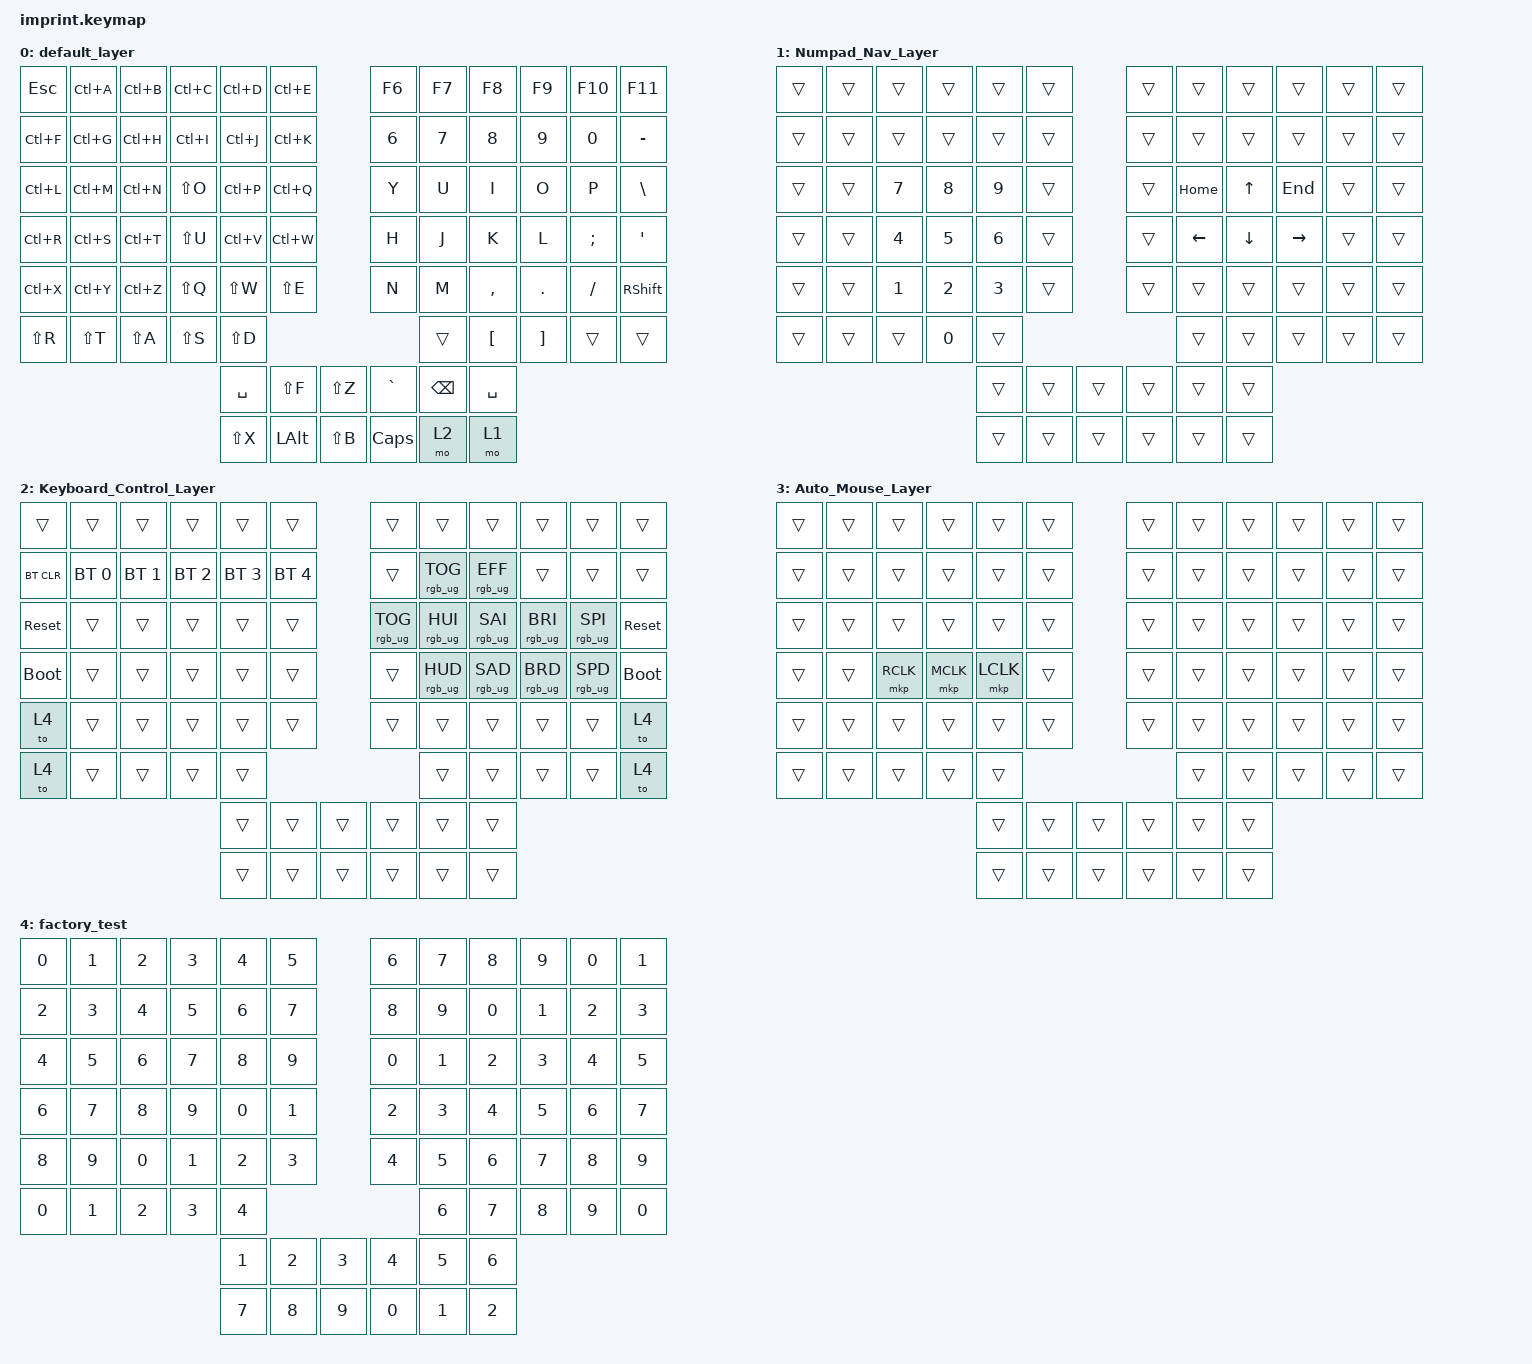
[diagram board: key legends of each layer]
#include <input/processors.dtsi>
#include <dt-bindings/zmk/input_transform.h>
#include <behaviors.dtsi>
#include <dt-bindings/zmk/bt.h>
#include <dt-bindings/zmk/keys.h>
#include <dt-bindings/zmk/pointing.h>
#include <dt-bindings/zmk/rgb.h>

/ {
    chosen { zmk,matrix-transform = &imprint_function_row_full_bottom_row; };

    keymap {
        compatible = "zmk,keymap";

        default_layer {
            bindings = <
&kp ESC    &kp LC(A)  &kp LC(B)  &kp LC(C)  &kp LC(D)  &kp LC(E)                  &kp F6     &kp F7    &kp F8     &kp F9    &kp F10   &kp F11
&kp LC(F)  &kp LC(G)  &kp LC(H)  &kp LC(I)  &kp LC(J)  &kp LC(K)                  &kp N6     &kp N7    &kp N8     &kp N9    &kp N0    &kp MINUS
&kp LC(L)  &kp LC(M)  &kp LC(N)  &kp LS(O)  &kp LC(P)  &kp LC(Q)                  &kp Y      &kp U     &kp I      &kp O     &kp P     &kp BSLH
&kp LC(R)  &kp LC(S)  &kp LC(T)  &kp LS(U)  &kp LC(V)  &kp LC(W)                  &kp H      &kp J     &kp K      &kp L     &kp SEMI  &kp SQT
&kp LC(X)  &kp LC(Y)  &kp LC(Z)  &kp LS(Q)  &kp LS(W)  &kp LS(E)                  &kp N      &kp M     &kp COMMA  &kp DOT   &kp FSLH  &kp RSHFT
&kp LS(R)  &kp LS(T)  &kp LS(A)  &kp LS(S)  &kp LS(D)                                        &trans    &kp LBKT   &kp RBKT  &trans    &trans
                                            &kp SPACE  &kp LS(F)     &kp LS(Z)    &kp GRAVE  &kp BSPC  &kp SPACE
                                            &kp LS(X)  &kp LEFT_ALT  &kp LS(B)    &kp CAPS   &mo 2     &mo 1
            >;
        };

        Numpad_Nav_Layer {
            bindings = <
&trans  &trans  &trans  &trans  &trans  &trans            &trans  &trans    &trans    &trans     &trans  &trans
&trans  &trans  &trans  &trans  &trans  &trans            &trans  &trans    &trans    &trans     &trans  &trans
&trans  &trans  &kp N7  &kp N8  &kp N9  &trans            &trans  &kp HOME  &kp UP    &kp END    &trans  &trans
&trans  &trans  &kp N4  &kp N5  &kp N6  &trans            &trans  &kp LEFT  &kp DOWN  &kp RIGHT  &trans  &trans
&trans  &trans  &kp N1  &kp N2  &kp N3  &trans            &trans  &trans    &trans    &trans     &trans  &trans
&trans  &trans  &trans  &kp N0  &trans                            &trans    &trans    &trans     &trans  &trans
                                &trans  &trans  &trans    &trans  &trans    &trans
                                &trans  &trans  &trans    &trans  &trans    &trans
            >;
        };

        Keyboard_Control_Layer {
            bindings = <
&trans       &trans        &trans        &trans        &trans        &trans                  &trans           &trans           &trans           &trans           &trans           &trans
&bt BT_CLR   &bt BT_SEL 0  &bt BT_SEL 1  &bt BT_SEL 2  &bt BT_SEL 3  &bt BT_SEL 4            &trans           &rgb_ug RGB_TOG  &rgb_ug RGB_EFF  &trans           &trans           &trans
&sys_reset   &trans        &trans        &trans        &trans        &trans                  &rgb_ug RGB_TOG  &rgb_ug RGB_HUI  &rgb_ug RGB_SAI  &rgb_ug RGB_BRI  &rgb_ug RGB_SPI  &sys_reset
&bootloader  &trans        &trans        &trans        &trans        &trans                  &trans           &rgb_ug RGB_HUD  &rgb_ug RGB_SAD  &rgb_ug RGB_BRD  &rgb_ug RGB_SPD  &bootloader
&to 4        &trans        &trans        &trans        &trans        &trans                  &trans           &trans           &trans           &trans           &trans           &to 4
&to 4        &trans        &trans        &trans        &trans                                                 &trans           &trans           &trans           &trans           &to 4
                                                       &trans        &trans        &trans    &trans           &trans           &trans
                                                       &trans        &trans        &trans    &trans           &trans           &trans
            >;
        };

        Auto_Mouse_Layer {
            bindings = <
&trans  &trans  &trans     &trans     &trans     &trans            &trans  &trans  &trans  &trans  &trans  &trans
&trans  &trans  &trans     &trans     &trans     &trans            &trans  &trans  &trans  &trans  &trans  &trans
&trans  &trans  &trans     &trans     &trans     &trans            &trans  &trans  &trans  &trans  &trans  &trans
&trans  &trans  &mkp RCLK  &mkp MCLK  &mkp LCLK  &trans            &trans  &trans  &trans  &trans  &trans  &trans
&trans  &trans  &trans     &trans     &trans     &trans            &trans  &trans  &trans  &trans  &trans  &trans
&trans  &trans  &trans     &trans     &trans                               &trans  &trans  &trans  &trans  &trans
                                      &trans     &trans  &trans    &trans  &trans  &trans
                                      &trans     &trans  &trans    &trans  &trans  &trans
            >;
        };

        factory_test {
            bindings = <
&kp N0  &kp N1  &kp N2  &kp N3  &kp N4  &kp N5            &kp N6  &kp N7  &kp N8  &kp N9  &kp N0  &kp N1
&kp N2  &kp N3  &kp N4  &kp N5  &kp N6  &kp N7            &kp N8  &kp N9  &kp N0  &kp N1  &kp N2  &kp N3
&kp N4  &kp N5  &kp N6  &kp N7  &kp N8  &kp N9            &kp N0  &kp N1  &kp N2  &kp N3  &kp N4  &kp N5
&kp N6  &kp N7  &kp N8  &kp N9  &kp N0  &kp N1            &kp N2  &kp N3  &kp N4  &kp N5  &kp N6  &kp N7
&kp N8  &kp N9  &kp N0  &kp N1  &kp N2  &kp N3            &kp N4  &kp N5  &kp N6  &kp N7  &kp N8  &kp N9
&kp N0  &kp N1  &kp N2  &kp N3  &kp N4                            &kp N6  &kp N7  &kp N8  &kp N9  &kp N0
                                &kp N1  &kp N2  &kp N3    &kp N4  &kp N5  &kp N6
                                &kp N7  &kp N8  &kp N9    &kp N0  &kp N1  &kp N2
            >;
        };
    };
};

// right hand trackball configuration
// &trackball_peripheral_listener {
//    input-processors =
//     activate layer 3 within 500ms of the trackball moving
//     <&zip_temp_layer 3 500>;
// };
//left hand trackball configuration

&trackball_central_listener {
    input-processors =
        // multiply sensitivity by 1, divide by 3 (make it slower for scrolling),,,,,,,
        <&zip_xy_scaler 1 3>,
        // make this trackball output scrolling events by default instead of cursor movement,,,,,,,
        <&zip_xy_to_scroll_mapper>,
        // invert vertical scrolling so that the view moves in the same direction as the top of the trackball.,,,,,,,
        <&zip_scroll_transform INPUT_TRANSFORM_Y_INVERT>;
};
